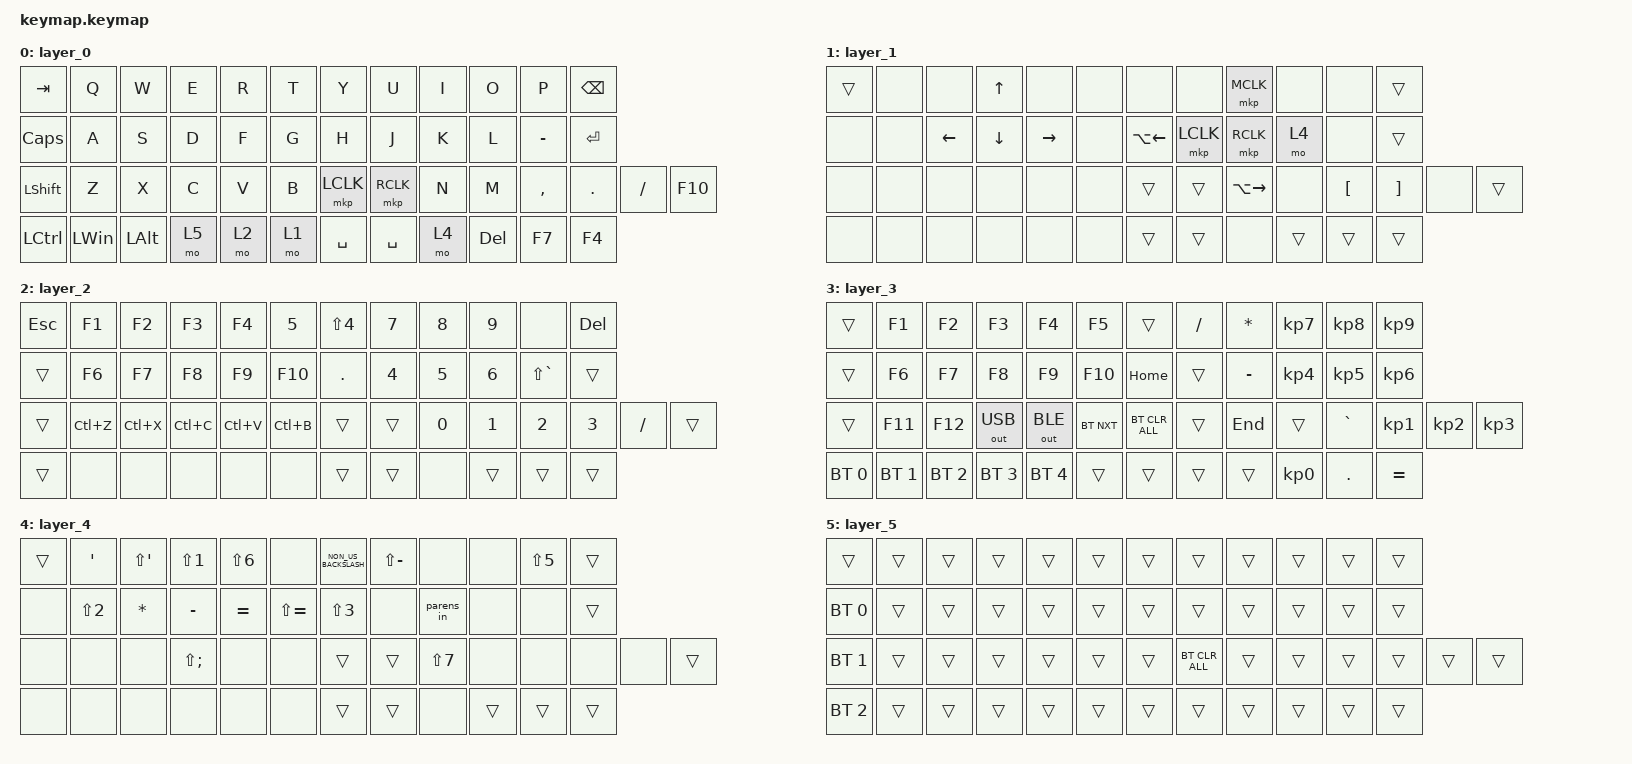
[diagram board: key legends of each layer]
#include <behaviors.dtsi>
#include <dt-bindings/zmk/bt.h>
#include <dt-bindings/zmk/keys.h>
#include <dt-bindings/zmk/outputs.h>
#include <dt-bindings/zmk/pointing.h>

/ {
    combos {
        compatible = "zmk,combos";

        bt_clear {
            bindings = <&bt BT_CLR>;
            key-positions = <28 29>;
            layers = <2>;
        };
    };

    macros {
        parens_in: parens_in {
            compatible = "zmk,behavior-macro";
            #binding-cells = <0>;

            wait-ms = <30>;
            tap-ms = <30>;

            bindings = <
                &kp LPAR
                &kp RPAR
                &kp LEFT_ARROW
            >;
        };
    };

    keymap {
        compatible = "zmk,keymap";

        layer_0 {
            bindings = <
&kp TAB           &kp Q         &kp W         &kp E  &kp R  &kp T  &kp Y      &kp U      &kp I  &kp O    &kp P      &kp BSPC
&kp CAPS          &kp A         &kp S         &kp D  &kp F  &kp G  &kp H      &kp J      &kp K  &kp L    &kp MINUS  &kp ENTER
&kp LSHFT         &kp Z         &kp X         &kp C  &kp V  &kp B  &mkp LCLK  &mkp RCLK  &kp N  &kp M    &kp COMMA  &kp DOT    &kp SLASH  &kp F10
&kp LEFT_CONTROL  &kp LEFT_WIN  &kp LEFT_ALT  &mo 5  &mo 2  &mo 1  &kp SPACE  &kp SPACE  &mo 4  &kp DEL  &kp F7     &kp F4
            >;
        };

        layer_1 {
            bindings = <
&trans  &none  &none           &kp UP_ARROW    &none            &none  &none               &none      &mkp MCLK            &none   &none             &trans
&none   &none  &kp LEFT_ARROW  &kp DOWN_ARROW  &kp RIGHT_ARROW  &none  &kp LA(LEFT_ARROW)  &mkp LCLK  &mkp RCLK            &mo 4   &none             &trans
&none   &none  &none           &none           &none            &none  &trans              &trans     &kp LA(RIGHT_ARROW)  &none   &kp LEFT_BRACKET  &kp RIGHT_BRACKET  &none  &trans
&none   &none  &none           &none           &none            &none  &trans              &trans     &none                &trans  &trans            &trans
            >;
        };

        layer_2 {
            bindings = <
&kp ESCAPE  &kp F1     &kp F2     &kp F3     &kp F4     &kp N5     &kp LS(NUMBER_4)  &kp N7        &kp N8        &kp N9        &none          &kp DELETE
&trans      &kp F6     &kp F7     &kp F8     &kp F9     &kp F10    &kp PERIOD        &kp NUMBER_4  &kp NUMBER_5  &kp NUMBER_6  &kp LS(GRAVE)  &trans
&trans      &kp LC(Z)  &kp LC(X)  &kp LC(C)  &kp LC(V)  &kp LC(B)  &trans            &trans        &kp NUMBER_0  &kp NUMBER_1  &kp NUMBER_2   &kp NUMBER_3  &kp SLASH  &trans
&trans      &none      &none      &none      &none      &none      &trans            &trans        &none         &trans        &trans         &trans
            >;
        };

        layer_3 {
            bindings = <
&trans        &kp F1        &kp F2        &kp F3        &kp F4        &kp F5      &trans          &kp FSLH  &kp ASTRK  &kp KP_NUMBER_7  &kp KP_NUMBER_8  &kp KP_NUMBER_9
&trans        &kp F6        &kp F7        &kp F8        &kp F9        &kp F10     &kp HOME        &trans    &kp MINUS  &kp KP_NUMBER_4  &kp KP_NUMBER_5  &kp KP_NUMBER_6
&trans        &kp F11       &kp F12       &out OUT_USB  &out OUT_BLE  &bt BT_NXT  &bt BT_CLR_ALL  &trans    &kp END    &trans           &kp GRAVE        &kp KP_NUMBER_1  &kp KP_NUMBER_2  &kp KP_NUMBER_3
&bt BT_SEL 0  &bt BT_SEL 1  &bt BT_SEL 2  &bt BT_SEL 3  &bt BT_SEL 4  &trans      &trans          &trans    &trans     &kp KP_NUMBER_0  &kp DOT          &kp EQUAL
            >;
        };

        layer_4 {
            bindings = <
&trans  &kp SQT           &kp LS(SQT)   &kp LS(NUMBER_1)   &kp LS(NUMBER_6)  &none          &kp NON_US_BACKSLASH  &kp LS(MINUS)  &none             &none   &kp LS(NUMBER_5)  &trans
&none   &kp LS(NUMBER_2)  &kp ASTERISK  &kp MINUS          &kp EQUAL         &kp LS(EQUAL)  &kp LS(NUMBER_3)      &none          &parens_in            &none   &none             &trans
&none   &none             &none         &kp LS(SEMICOLON)  &none             &none          &trans                &trans         &kp LS(NUMBER_7)  &none   &none             &none   &none  &trans
&none   &none             &none         &none              &none             &none          &trans                &trans         &none             &trans  &trans            &trans
            >;
        };

        layer_5 {
            bindings = <
&trans        &trans  &trans  &trans  &trans  &trans  &trans  &trans          &trans  &trans  &trans  &trans
&bt BT_SEL 0  &trans  &trans  &trans  &trans  &trans  &trans  &trans          &trans  &trans  &trans  &trans
&bt BT_SEL 1  &trans  &trans  &trans  &trans  &trans  &trans  &bt BT_CLR_ALL  &trans  &trans  &trans  &trans  &trans  &trans
&bt BT_SEL 2  &trans  &trans  &trans  &trans  &trans  &trans  &trans          &trans  &trans  &trans  &trans
            >;
        };
    };
};
